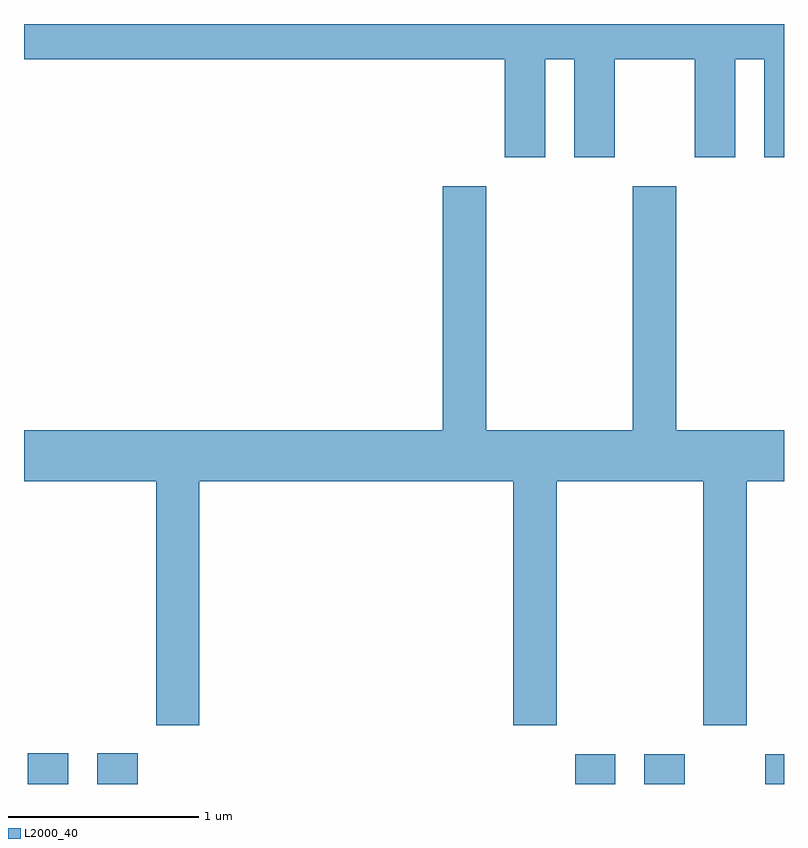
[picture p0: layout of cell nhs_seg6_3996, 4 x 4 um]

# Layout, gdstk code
import gdstk
lib = gdstk.Library(unit=1e-6, precision=1e-09)
def R(c, l, rs):  # rectangles x0, y0, x1, y1
    for r in rs: c.add(gdstk.rectangle(r[:2], r[2:], *l))
def P(c, l, *ps):  # polygons
    for p in ps: c.add(gdstk.Polygon(p, *l))
L2000_40 = (2000, 40)

nhs_seg6_3996 = lib.new_cell('nhs_seg6_3996')
R(nhs_seg6_3996, L2000_40, [(305.631,1606.162,305.844,1606.324), (305.996,1606.162,306.209,1606.324), (308.511,1606.162,308.724,1606.319), (308.876,1606.162,309.089,1606.319), (309.511,1606.162,309.611,1606.319)])
P(nhs_seg6_3996, L2000_40, [(308.354,1609.976),(308.506,1609.976),(308.506,1609.461),(308.719,1609.461),(308.719,1609.976),(309.141,1609.976),(309.141,1609.461),(309.354,1609.461),(309.354,1609.976),(309.506,1609.976),(309.506,1609.461),(309.611,1609.461),(309.611,1610.162),(305.611,1610.162),(305.611,1609.976),(308.141,1609.976),(308.141,1609.461),(308.354,1609.461)],
  [(306.534,1607.756),(308.186,1607.756),(308.186,1606.471),(308.414,1606.471),(308.414,1607.756),(309.186,1607.756),(309.186,1606.471),(309.414,1606.471),(309.414,1607.756),(309.611,1607.756),(309.611,1608.024),(309.044,1608.024),(309.044,1609.309),(308.816,1609.309),(308.816,1608.024),(308.044,1608.024),(308.044,1609.309),(307.816,1609.309),(307.816,1608.024),(305.611,1608.024),(305.611,1607.756),(306.306,1607.756),(306.306,1606.471),(306.534,1606.471)])

lib.write_gds('nhs_seg6_3996.gds')
